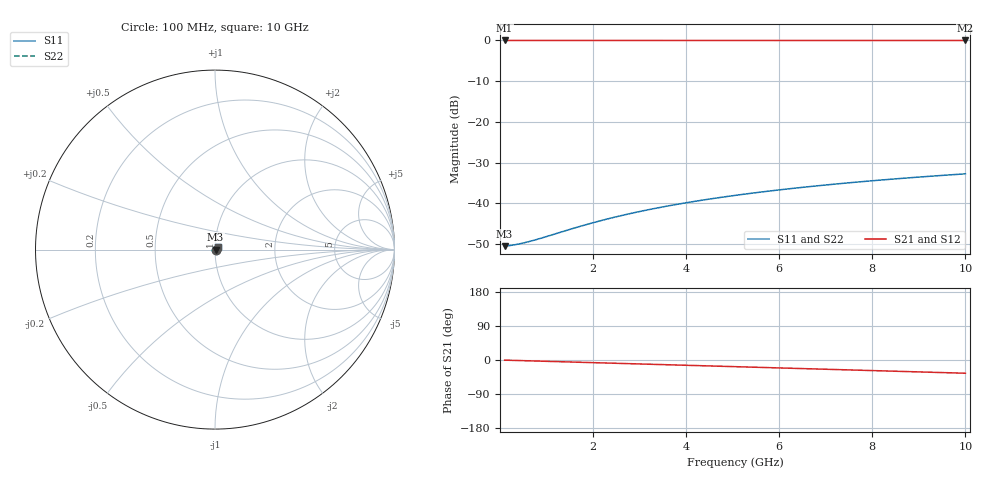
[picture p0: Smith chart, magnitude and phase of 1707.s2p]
# Hz S RI R 50.00
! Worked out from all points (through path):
!   100 points, 100 MHz to 10 GHz, reference 50 ohm
!   highest |S21| = -0.03 dB at 100 MHz (marker M1); lowest = 0.0 dB at 10 GHz (marker M2)
!   group delay of S21, straight-line fit = 9.7 ps
!   lowest |S11| = -50.5 dB at 100 MHz (marker M3), VSWR 1.01, Z = 50.3 + j0.0231 ohm
!   |S11| at or under -10 dB: start of sweep to end of sweep
!   |S22| runs from -50.5 to -32.7 dB; largest |S21 - S12| = 0
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1e8  0.00298 0.000229  0.997 -0.00605  0.997 -0.00605  0.00298 0.000229
3e8  0.00302 0.000687  0.9968 -0.0181  0.9968 -0.0181  0.00302 0.000687
4e8  0.00304 0.000915  0.9967 -0.0242  0.9967 -0.0242  0.00304 0.000915
6e8  0.00308 0.00137  0.9963 -0.0363  0.9963 -0.0363  0.00308 0.00137
9e8  0.00316 0.00205  0.9954 -0.0544  0.9954 -0.0544  0.00316 0.00205
1.5e9  0.00339 0.0034  0.9927 -0.0906  0.9927 -0.0906  0.00339 0.0034
1.8e9  0.00353 0.00407  0.9909 -0.1087  0.9909 -0.1087  0.00353 0.00407
2.2e9  0.00376 0.00495  0.9879 -0.1327  0.9879 -0.1327  0.00376 0.00495
2.6e9  0.00404 0.00581  0.9844 -0.1567  0.9844 -0.1567  0.00404 0.00581
3e9  0.00435 0.00666  0.9802 -0.1806  0.9802 -0.1806  0.00435 0.00666
3.4e9  0.00471 0.00749  0.9755 -0.2043  0.9755 -0.2043  0.00471 0.00749
3.8e9  0.0051 0.0083  0.9702 -0.228  0.9702 -0.228  0.0051 0.0083
4.2e9  0.00554 0.00908  0.9643 -0.2516  0.9643 -0.2516  0.00554 0.00908
4.6e9  0.00601 0.00985  0.9579 -0.275  0.9579 -0.275  0.00601 0.00985
5.1e9  0.00666 0.0108  0.949 -0.304  0.949 -0.304  0.00666 0.0108
5.5e9  0.00721 0.0115  0.9413 -0.327  0.9413 -0.327  0.00721 0.0115
5.9e9  0.0078 0.0121  0.933 -0.3499  0.933 -0.3499  0.0078 0.0121
6.7e9  0.00908 0.0134  0.9147 -0.395  0.9147 -0.395  0.00908 0.0134
7.5e9  0.0105 0.0145  0.8943 -0.4392  0.8943 -0.4392  0.0105 0.0145
8.4e9  0.0122 0.0156  0.8687 -0.4877  0.8687 -0.4877  0.0122 0.0156
9.2e9  0.0138 0.0164  0.8436 -0.5297  0.8436 -0.5297  0.0138 0.0164
1e10  0.0155 0.0171  0.8166 -0.5704  0.8166 -0.5704  0.0155 0.0171
